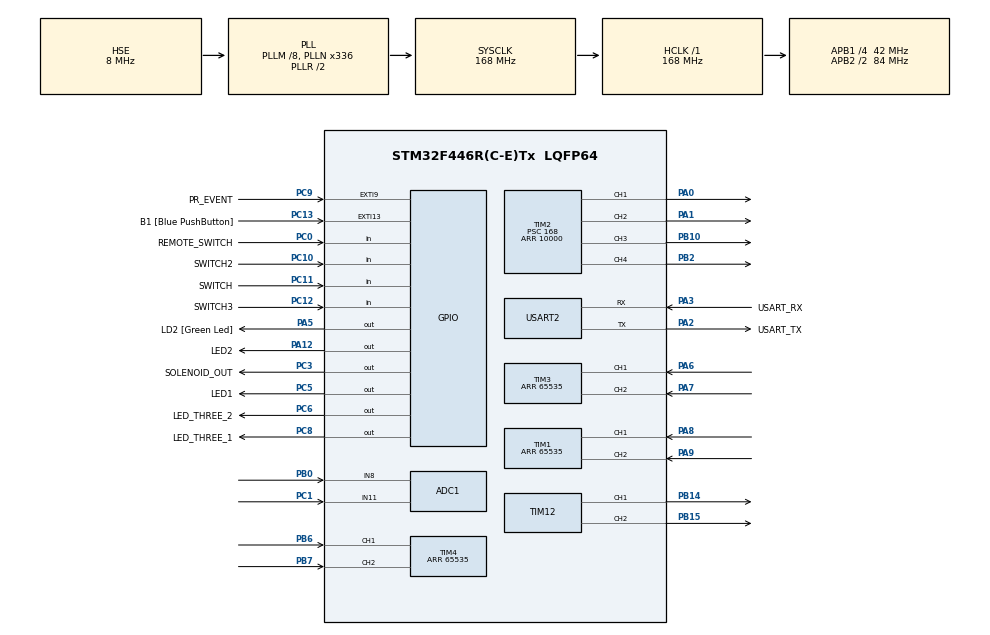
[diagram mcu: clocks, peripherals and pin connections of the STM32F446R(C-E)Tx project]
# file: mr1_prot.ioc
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ADC1.Channel-0\#ChannelRegularConversion=ADC_CHANNEL_11
ADC1.Channel-1\#ChannelRegularConversion=ADC_CHANNEL_8
ADC1.ContinuousConvMode=ENABLE
ADC1.DMAContinuousRequests=ENABLE
ADC1.NbrOfConversion=2
ADC1.NbrOfConversionFlag=1
ADC1.Rank-0\#ChannelRegularConversion=1
ADC1.Rank-1\#ChannelRegularConversion=2
ADC1.SamplingTime-0\#ChannelRegularConversion=ADC_SAMPLETIME_28CYCLES
ADC1.SamplingTime-1\#ChannelRegularConversion=ADC_SAMPLETIME_28CYCLES
ADC1.ScanConvMode=ENABLE
ADC1.master=1
Dma.ADC1.0.Direction=DMA_PERIPH_TO_MEMORY
Dma.ADC1.0.FIFOMode=DMA_FIFOMODE_DISABLE
Dma.ADC1.0.Instance=DMA2_Stream0
Dma.ADC1.0.MemDataAlignment=DMA_MDATAALIGN_HALFWORD
Dma.ADC1.0.MemInc=DMA_MINC_ENABLE
Dma.ADC1.0.Mode=DMA_CIRCULAR
Dma.ADC1.0.PeriphDataAlignment=DMA_PDATAALIGN_HALFWORD
Dma.ADC1.0.PeriphInc=DMA_PINC_DISABLE
Dma.ADC1.0.Priority=DMA_PRIORITY_HIGH
Dma.Request0=ADC1
Mcu.Family=STM32F4
Mcu.Name=STM32F446R(C-E)Tx
Mcu.Package=LQFP64
NVIC.DMA2_Stream0_IRQn=true\:0\:0\:false\:false\:true\:false
NVIC.EXTI9_5_IRQn=true\:0\:0\:false\:false\:true\:true
NVIC.PriorityGroup=NVIC_PRIORITYGROUP_0
NVIC.TIM7_IRQn=true\:0\:0\:false\:false\:true\:true
PA0-WKUP.Signal=S_TIM2_CH1_ETR
PA1.Signal=S_TIM2_CH2
PA12.GPIO_Label=LED2
PA12.Signal=GPIO_Output
PA13.GPIO_Label=TMS
PA13.Mode=Serial_Wire
PA13.Signal=SYS_JTMS-SWDIO
PA14.GPIO_Label=TCK
PA14.Mode=Serial_Wire
PA14.Signal=SYS_JTCK-SWCLK
PA2.GPIO_Label=USART_TX
PA2.Mode=Asynchronous
PA2.Signal=USART2_TX
PA3.GPIO_Label=USART_RX
PA3.Mode=Asynchronous
PA3.Signal=USART2_RX
PA5.GPIO_Label=LD2 [Green Led]
PA5.Signal=GPIO_Output
PA6.Signal=S_TIM3_CH1
PA7.Signal=S_TIM3_CH2
PA8.Signal=S_TIM1_CH1
PA9.Signal=S_TIM1_CH2
PB0.Signal=ADCx_IN8
PB10.Signal=S_TIM2_CH3
PB14.Signal=S_TIM12_CH1
PB15.Signal=S_TIM12_CH2
PB2.Signal=S_TIM2_CH4
PB3.GPIO_Label=SWO
PB3.Signal=SYS_JTDO-SWO
PB6.Signal=S_TIM4_CH1
PB7.Signal=S_TIM4_CH2
PC0.GPIO_Label=REMOTE_SWITCH
PC0.Signal=GPIO_Input
PC1.Signal=ADCx_IN11
PC10.GPIO_Label=SWITCH2
PC10.GPIO_Mode=GPIO_MODE_INPUT
PC10.GPIO_PuPd=GPIO_PULLUP
PC10.Signal=GPIO_Input
PC11.GPIO_Label=SWITCH
PC11.GPIO_PuPd=GPIO_PULLUP
PC11.Signal=GPIO_Input
PC12.GPIO_Label=SWITCH3
PC12.GPIO_PuPd=GPIO_PULLUP
PC12.Signal=GPIO_Input
PC13.GPIO_Label=B1 [Blue PushButton]
PC13.GPIO_ModeDefaultEXTI=GPIO_MODE_IT_FALLING
PC13.Signal=GPXTI13
PC14-OSC32_IN.Mode=LSE-External-Oscillator
PC14-OSC32_IN.Signal=RCC_OSC32_IN
PC15-OSC32_OUT.Mode=LSE-External-Oscillator
PC15-OSC32_OUT.Signal=RCC_OSC32_OUT
PC3.GPIO_Label=SOLENOID_OUT
PC3.Signal=GPIO_Output
PC5.GPIO_Label=LED1
PC5.Signal=GPIO_Output
PC6.GPIO_Label=LED_THREE_2
PC6.Signal=GPIO_Output
PC8.GPIO_Label=LED_THREE_1
PC8.Signal=GPIO_Output
PC9.GPIO_Label=PR_EVENT
PC9.GPIO_ModeDefaultEXTI=GPIO_MODE_IT_FALLING
PC9.Signal=GPXTI9
PH0-OSC_IN.Mode=HSE-External-Oscillator
PH0-OSC_IN.Signal=RCC_OSC_IN
PH1-OSC_OUT.Mode=HSE-External-Oscillator
PH1-OSC_OUT.Signal=RCC_OSC_OUT
ProjectManager.HeapSize=0x200
ProjectManager.StackSize=0x400
ProjectManager.TargetToolchain=TrueSTUDIO
RCC.48MHZClocksFreq_Value=84000000
RCC.AHBFreq_Value=168000000
RCC.APB1CLKDivider=RCC_HCLK_DIV4
RCC.APB1Freq_Value=42000000
RCC.APB1TimFreq_Value=84000000
RCC.APB2CLKDivider=RCC_HCLK_DIV2
RCC.APB2Freq_Value=84000000
RCC.APB2TimFreq_Value=168000000
RCC.CortexFreq_Value=168000000
RCC.FLatency-AdvancedSettings=FLASH_LATENCY_5
RCC.HCLKFreq_Value=168000000
RCC.HSE_VALUE=8000000
RCC.HSI_VALUE=16000000
RCC.PLLM=8
RCC.PLLN=336
RCC.PLLP=RCC_PLLP_DIV4
RCC.PLLSourceVirtual=RCC_PLLSOURCE_HSE
RCC.SYSCLKFreq_VALUE=168000000
RCC.SYSCLKSource=RCC_SYSCLKSOURCE_PLLRCLK
RCC.USBFreq_Value=168000000
RCC.VCOOutputFreq_Value=336000000
SH.ADCx_IN11.0=ADC1_IN11,IN11
SH.ADCx_IN8.0=ADC1_IN8,IN8
SH.S_TIM12_CH1.0=TIM12_CH1,PWM Generation1 CH1
SH.S_TIM12_CH2.0=TIM12_CH2,PWM Generation2 CH2
SH.S_TIM1_CH1.0=TIM1_CH1,Encoder_Interface
SH.S_TIM1_CH2.0=TIM1_CH2,Encoder_Interface
SH.S_TIM2_CH1_ETR.0=TIM2_CH1,PWM Generation1 CH1
SH.S_TIM2_CH2.0=TIM2_CH2,PWM Generation2 CH2
SH.S_TIM2_CH3.0=TIM2_CH3,PWM Generation3 CH3
SH.S_TIM2_CH4.0=TIM2_CH4,PWM Generation4 CH4
SH.S_TIM3_CH1.0=TIM3_CH1,Encoder_Interface
SH.S_TIM3_CH2.0=TIM3_CH2,Encoder_Interface
SH.S_TIM4_CH1.0=TIM4_CH1,Encoder_Interface
SH.S_TIM4_CH2.0=TIM4_CH2,Encoder_Interface
TIM1.EncoderMode=TIM_ENCODERMODE_TI12
TIM1.Period=65535
TIM12.Channel-PWM\ Generation1\ CH1=TIM_CHANNEL_1
TIM12.Channel-PWM\ Generation2\ CH2=TIM_CHANNEL_2
TIM2.Channel-PWM\ Generation1\ CH1=TIM_CHANNEL_1
TIM2.Channel-PWM\ Generation2\ CH2=TIM_CHANNEL_2
TIM2.Channel-PWM\ Generation3\ CH3=TIM_CHANNEL_3
TIM2.Channel-PWM\ Generation4\ CH4=TIM_CHANNEL_4
TIM2.Period=10000
TIM2.Prescaler=168
TIM3.EncoderMode=TIM_ENCODERMODE_TI12
TIM3.Period=65535
TIM4.EncoderMode=TIM_ENCODERMODE_TI12
TIM4.Period=65535
TIM7.Period=84
TIM7.Prescaler=10000-1
USART2.VirtualMode=VM_ASYNC
VP_TIM7_VS_ClockSourceINT.Mode=Enable_Timer
board=NUCLEO-F446RE

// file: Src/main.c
/**
  ******************************************************************************
  * @file           : main.c
  * @brief          : Main program body
  ******************************************************************************
  ** This notice applies to any and all portions of this file
  * that are not between comment pairs USER CODE BEGIN and
  * USER CODE END. Other portions of this file, whether
  * inserted by the user or by software development tools
  * are owned by their respective copyright owners.
  *
  * COPYRIGHT(c) 2019 STMicroelectronics
  *
  * Redistribution and use in source and binary forms, with or without modification,
  * are permitted provided that the following conditions are met:
  *   1. Redistributions of source code must retain the above copyright notice,
  *      this list of conditions and the following disclaimer.
  *   2. Redistributions in binary form must reproduce the above copyright notice,
  *      this list of conditions and the following disclaimer in the documentation
  *      and/or other materials provided with the distribution.
  *   3. Neither the name of STMicroelectronics nor the names of its contributors
  *      may be used to endorse or promote products derived from this software
  *      without specific prior written permission.
  *
  * THIS SOFTWARE IS PROVIDED BY THE COPYRIGHT HOLDERS AND CONTRIBUTORS "AS IS"
  * AND ANY EXPRESS OR IMPLIED WARRANTIES, INCLUDING, BUT NOT LIMITED TO, THE
  * IMPLIED WARRANTIES OF MERCHANTABILITY AND FITNESS FOR A PARTICULAR PURPOSE ARE
  * DISCLAIMED. IN NO EVENT SHALL THE COPYRIGHT HOLDER OR CONTRIBUTORS BE LIABLE
  * FOR ANY DIRECT, INDIRECT, INCIDENTAL, SPECIAL, EXEMPLARY, OR CONSEQUENTIAL
  * DAMAGES (INCLUDING, BUT NOT LIMITED TO, PROCUREMENT OF SUBSTITUTE GOODS OR
  * SERVICES; LOSS OF USE, DATA, OR PROFITS; OR BUSINESS INTERRUPTION) HOWEVER
  * CAUSED AND ON ANY THEORY OF LIABILITY, WHETHER IN CONTRACT, STRICT LIABILITY,
  * OR TORT (INCLUDING NEGLIGENCE OR OTHERWISE) ARISING IN ANY WAY OUT OF THE USE
  * OF THIS SOFTWARE, EVEN IF ADVISED OF THE POSSIBILITY OF SUCH DAMAGE.
  *
  ******************************************************************************
  */
#include "main.h"
#include "stm32f4xx_hal.h"

/* USER CODE BEGIN Includes */
#include "basic_operations.h"
/* USER CODE END Includes */

ADC_HandleTypeDef hadc1;
DMA_HandleTypeDef hdma_adc1;

TIM_HandleTypeDef htim1;
TIM_HandleTypeDef htim2;
TIM_HandleTypeDef htim3;
TIM_HandleTypeDef htim4;
TIM_HandleTypeDef htim7;
TIM_HandleTypeDef htim12;

UART_HandleTypeDef huart2;

/* USER CODE BEGIN PV */
/* Private variables ---------------------------------------------------------*/

/* USER CODE END PV */

void SystemClock_Config(void);
static void MX_GPIO_Init(void);
static void MX_DMA_Init(void);
static void MX_USART2_UART_Init(void);
static void MX_TIM3_Init(void);
static void MX_TIM4_Init(void);
static void MX_TIM2_Init(void);
static void MX_TIM1_Init(void);
static void MX_TIM12_Init(void);
static void MX_TIM7_Init(void);
static void MX_ADC1_Init(void);

void HAL_TIM_MspPostInit(TIM_HandleTypeDef *htim);

/* USER CODE BEGIN PFP */
/* Private function prototypes -----------------------------------------------*/

/* USER CODE END PFP */

/* USER CODE BEGIN 0 */

/*ADC*/
static uint16_t _ADCdata[2];

uint16_t get_ADCdata_0(){
	return _ADCdata[0];
}

uint16_t get_ADCdata_1(){
	return _ADCdata[1];
}

TIM_Encoder_InitTypeDef sConfig;
TIM_MasterConfigTypeDef sMasterConfig;

/* USER CODE END 0 */

int main(void)
{

  /* MCU Configuration----------------------------------------------------------*/

  /* Reset of all peripherals, Initializes the Flash interface and the Systick. */
  HAL_Init();

  /* Configure the system clock */
  SystemClock_Config();

  /* Initialize all configured peripherals */
  MX_GPIO_Init();
  MX_DMA_Init();
  MX_USART2_UART_Init();
  MX_TIM3_Init();
  MX_TIM4_Init();
  MX_TIM2_Init();
  MX_TIM1_Init();
  MX_TIM12_Init();
  MX_TIM7_Init();
  MX_ADC1_Init();
  /* USER CODE BEGIN 2 */

  /*ADC*/
  HAL_ADC_Init(&hadc1);
  HAL_ADC_Start_DMA(&hadc1,(uint32_t *)_ADCdata,2);

  if(HAL_TIM_PWM_Start(&htim2,TIM_CHANNEL_1)!= HAL_OK){Error_Handler();}
    if(HAL_TIM_PWM_Start(&htim2,TIM_CHANNEL_2)!= HAL_OK){Error_Handler();}
    if(HAL_TIM_PWM_Start(&htim2,TIM_CHANNEL_3)!= HAL_OK){Error_Handler();}
    if(HAL_TIM_PWM_Start(&htim2,TIM_CHANNEL_4)!= HAL_OK){Error_Handler();}

    HAL_TIM_Encoder_Start(&htim3,TIM_CHANNEL_ALL);//right-wheel
    HAL_TIM_Encoder_Start(&htim1,TIM_CHANNEL_ALL);//left-wheel
    HAL_TIM_Encoder_Start(&htim4,TIM_CHANNEL_ALL);//throwing arm

    HAL_TIM_Base_Start_IT(&htim7);

  /* USER CODE END 2 */

  /* Infinite loop */
  while (1)
  {

  /* USER CODE BEGIN 3 */
	  volatile int a = 0;
	  a++;

  }
  /* USER CODE END 3 */

}

void SystemClock_Config(void)
{

  RCC_OscInitTypeDef RCC_OscInitStruct;
  RCC_ClkInitTypeDef RCC_ClkInitStruct;

    /**Configure the main internal regulator output voltage
    */
  __HAL_RCC_PWR_CLK_ENABLE();

  __HAL_PWR_VOLTAGESCALING_CONFIG(PWR_REGULATOR_VOLTAGE_SCALE1);

    /**Initializes the CPU, AHB and APB busses clocks
    */
  RCC_OscInitStruct.OscillatorType = RCC_OSCILLATORTYPE_HSE;
  RCC_OscInitStruct.HSEState = RCC_HSE_ON;
  RCC_OscInitStruct.PLL.PLLState = RCC_PLL_ON;
  RCC_OscInitStruct.PLL.PLLSource = RCC_PLLSOURCE_HSE;
  RCC_OscInitStruct.PLL.PLLM = 8;
  RCC_OscInitStruct.PLL.PLLN = 336;
  RCC_OscInitStruct.PLL.PLLP = RCC_PLLP_DIV4;
  RCC_OscInitStruct.PLL.PLLQ = 2;
  RCC_OscInitStruct.PLL.PLLR = 2;
  if (HAL_RCC_OscConfig(&RCC_OscInitStruct) != HAL_OK)
  {
    _Error_Handler(__FILE__, __LINE__);
  }

    /**Initializes the CPU, AHB and APB busses clocks
    */
  RCC_ClkInitStruct.ClockType = RCC_CLOCKTYPE_HCLK|RCC_CLOCKTYPE_SYSCLK
                              |RCC_CLOCKTYPE_PCLK1|RCC_CLOCKTYPE_PCLK2;
  RCC_ClkInitStruct.SYSCLKSource = RCC_SYSCLKSOURCE_PLLRCLK;
  RCC_ClkInitStruct.AHBCLKDivider = RCC_SYSCLK_DIV1;
  RCC_ClkInitStruct.APB1CLKDivider = RCC_HCLK_DIV4;
  RCC_ClkInitStruct.APB2CLKDivider = RCC_HCLK_DIV2;

  if (HAL_RCC_ClockConfig(&RCC_ClkInitStruct, FLASH_LATENCY_5) != HAL_OK)
  {
    _Error_Handler(__FILE__, __LINE__);
  }

    /**Configure the Systick interrupt time
    */
  HAL_SYSTICK_Config(HAL_RCC_GetHCLKFreq()/1000);

    /**Configure the Systick
    */
  HAL_SYSTICK_CLKSourceConfig(SYSTICK_CLKSOURCE_HCLK);

  /* SysTick_IRQn interrupt configuration */
  HAL_NVIC_SetPriority(SysTick_IRQn, 0, 0);
}

/* ADC1 init function */
static void MX_ADC1_Init(void)
{

  ADC_ChannelConfTypeDef sConfig;

    /**Configure the global features of the ADC (Clock, Resolution, Data Alignment and number of conversion)
    */
  hadc1.Instance = ADC1;
  hadc1.Init.ClockPrescaler = ADC_CLOCK_SYNC_PCLK_DIV4;
  hadc1.Init.Resolution = ADC_RESOLUTION_12B;
  hadc1.Init.ScanConvMode = ENABLE;
  hadc1.Init.ContinuousConvMode = ENABLE;
  hadc1.Init.DiscontinuousConvMode = DISABLE;
  hadc1.Init.ExternalTrigConvEdge = ADC_EXTERNALTRIGCONVEDGE_NONE;
  hadc1.Init.ExternalTrigConv = ADC_SOFTWARE_START;
  hadc1.Init.DataAlign = ADC_DATAALIGN_RIGHT;
  hadc1.Init.NbrOfConversion = 2;
  hadc1.Init.DMAContinuousRequests = ENABLE;
  hadc1.Init.EOCSelection = ADC_EOC_SINGLE_CONV;
  if (HAL_ADC_Init(&hadc1) != HAL_OK)
  {
    _Error_Handler(__FILE__, __LINE__);
  }

    /**Configure for the selected ADC regular channel its corresponding rank in the sequencer and its sample time.
    */
  sConfig.Channel = ADC_CHANNEL_11;
  sConfig.Rank = 1;
  sConfig.SamplingTime = ADC_SAMPLETIME_28CYCLES;
  if (HAL_ADC_ConfigChannel(&hadc1, &sConfig) != HAL_OK)
  {
    _Error_Handler(__FILE__, __LINE__);
  }

    /**Configure for the selected ADC regular channel its corresponding rank in the sequencer and its sample time.
    */
  sConfig.Channel = ADC_CHANNEL_8;
  sConfig.Rank = 2;
  if (HAL_ADC_ConfigChannel(&hadc1, &sConfig) != HAL_OK)
  {
    _Error_Handler(__FILE__, __LINE__);
  }

}

/* TIM1 init function */
static void MX_TIM1_Init(void)
{

  TIM_Encoder_InitTypeDef sConfig;
  TIM_MasterConfigTypeDef sMasterConfig;

  htim1.Instance = TIM1;
  htim1.Init.Prescaler = 0;
  htim1.Init.CounterMode = TIM_COUNTERMODE_UP;
  htim1.Init.Period = 65535;
  htim1.Init.ClockDivision = TIM_CLOCKDIVISION_DIV1;
  htim1.Init.RepetitionCounter = 0;
  sConfig.EncoderMode = TIM_ENCODERMODE_TI12;
  sConfig.IC1Polarity = TIM_ICPOLARITY_RISING;
  sConfig.IC1Selection = TIM_ICSELECTION_DIRECTTI;
  sConfig.IC1Prescaler = TIM_ICPSC_DIV1;
  sConfig.IC1Filter = 0;
  sConfig.IC2Polarity = TIM_ICPOLARITY_RISING;
  sConfig.IC2Selection = TIM_ICSELECTION_DIRECTTI;
  sConfig.IC2Prescaler = TIM_ICPSC_DIV1;
  sConfig.IC2Filter = 0;
  if (HAL_TIM_Encoder_Init(&htim1, &sConfig) != HAL_OK)
  {
    _Error_Handler(__FILE__, __LINE__);
  }

  sMasterConfig.MasterOutputTrigger = TIM_TRGO_RESET;
  sMasterConfig.MasterSlaveMode = TIM_MASTERSLAVEMODE_DISABLE;
  if (HAL_TIMEx_MasterConfigSynchronization(&htim1, &sMasterConfig) != HAL_OK)
  {
    _Error_Handler(__FILE__, __LINE__);
  }

}

/* TIM2 init function */
static void MX_TIM2_Init(void)
{

  TIM_MasterConfigTypeDef sMasterConfig;
  TIM_OC_InitTypeDef sConfigOC;

  htim2.Instance = TIM2;
  htim2.Init.Prescaler = 168;
  htim2.Init.CounterMode = TIM_COUNTERMODE_UP;
  htim2.Init.Period = 10000;
  htim2.Init.ClockDivision = TIM_CLOCKDIVISION_DIV1;
  if (HAL_TIM_PWM_Init(&htim2) != HAL_OK)
  {
    _Error_Handler(__FILE__, __LINE__);
  }

  sMasterConfig.MasterOutputTrigger = TIM_TRGO_RESET;
  sMasterConfig.MasterSlaveMode = TIM_MASTERSLAVEMODE_DISABLE;
  if (HAL_TIMEx_MasterConfigSynchronization(&htim2, &sMasterConfig) != HAL_OK)
  {
    _Error_Handler(__FILE__, __LINE__);
  }

  sConfigOC.OCMode = TIM_OCMODE_PWM1;
  sConfigOC.Pulse = 0;
  sConfigOC.OCPolarity = TIM_OCPOLARITY_HIGH;
  sConfigOC.OCFastMode = TIM_OCFAST_DISABLE;
  if (HAL_TIM_PWM_ConfigChannel(&htim2, &sConfigOC, TIM_CHANNEL_1) != HAL_OK)
  {
    _Error_Handler(__FILE__, __LINE__);
  }

  if (HAL_TIM_PWM_ConfigChannel(&htim2, &sConfigOC, TIM_CHANNEL_2) != HAL_OK)
  {
    _Error_Handler(__FILE__, __LINE__);
  }

  if (HAL_TIM_PWM_ConfigChannel(&htim2, &sConfigOC, TIM_CHANNEL_3) != HAL_OK)
  {
    _Error_Handler(__FILE__, __LINE__);
  }

  if (HAL_TIM_PWM_ConfigChannel(&htim2, &sConfigOC, TIM_CHANNEL_4) != HAL_OK)
  {
    _Error_Handler(__FILE__, __LINE__);
  }

  HAL_TIM_MspPostInit(&htim2);

}

/* TIM3 init function */
static void MX_TIM3_Init(void)
{

  TIM_Encoder_InitTypeDef sConfig;
  TIM_MasterConfigTypeDef sMasterConfig;

  htim3.Instance = TIM3;
  htim3.Init.Prescaler = 0;
  htim3.Init.CounterMode = TIM_COUNTERMODE_UP;
  htim3.Init.Period = 65535;
  htim3.Init.ClockDivision = TIM_CLOCKDIVISION_DIV1;
  sConfig.EncoderMode = TIM_ENCODERMODE_TI12;
  sConfig.IC1Polarity = TIM_ICPOLARITY_RISING;
  sConfig.IC1Selection = TIM_ICSELECTION_DIRECTTI;
  sConfig.IC1Prescaler = TIM_ICPSC_DIV1;
  sConfig.IC1Filter = 0;
  sConfig.IC2Polarity = TIM_ICPOLARITY_RISING;
  sConfig.IC2Selection = TIM_ICSELECTION_DIRECTTI;
  sConfig.IC2Prescaler = TIM_ICPSC_DIV1;
  sConfig.IC2Filter = 0;
  if (HAL_TIM_Encoder_Init(&htim3, &sConfig) != HAL_OK)
  {
    _Error_Handler(__FILE__, __LINE__);
  }

  sMasterConfig.MasterOutputTrigger = TIM_TRGO_RESET;
  sMasterConfig.MasterSlaveMode = TIM_MASTERSLAVEMODE_DISABLE;
  if (HAL_TIMEx_MasterConfigSynchronization(&htim3, &sMasterConfig) != HAL_OK)
  {
    _Error_Handler(__FILE__, __LINE__);
  }

}

/* TIM4 init function */
static void MX_TIM4_Init(void)
{

  TIM_Encoder_InitTypeDef sConfig;
  TIM_MasterConfigTypeDef sMasterConfig;

  htim4.Instance = TIM4;
  htim4.Init.Prescaler = 0;
  htim4.Init.CounterMode = TIM_COUNTERMODE_UP;
  htim4.Init.Period = 65535;
  htim4.Init.ClockDivision = TIM_CLOCKDIVISION_DIV1;
  sConfig.EncoderMode = TIM_ENCODERMODE_TI12;
  sConfig.IC1Polarity = TIM_ICPOLARITY_RISING;
  sConfig.IC1Selection = TIM_ICSELECTION_DIRECTTI;
  sConfig.IC1Prescaler = TIM_ICPSC_DIV1;
  sConfig.IC1Filter = 0;
  sConfig.IC2Polarity = TIM_ICPOLARITY_RISING;
  sConfig.IC2Selection = TIM_ICSELECTION_DIRECTTI;
  sConfig.IC2Prescaler = TIM_ICPSC_DIV1;
  sConfig.IC2Filter = 0;
  if (HAL_TIM_Encoder_Init(&htim4, &sConfig) != HAL_OK)
  {
    _Error_Handler(__FILE__, __LINE__);
  }

  sMasterConfig.MasterOutputTrigger = TIM_TRGO_RESET;
  sMasterConfig.MasterSlaveMode = TIM_MASTERSLAVEMODE_DISABLE;
  if (HAL_TIMEx_MasterConfigSynchronization(&htim4, &sMasterConfig) != HAL_OK)
  {
    _Error_Handler(__FILE__, __LINE__);
  }

}

/* TIM7 init function */
static void MX_TIM7_Init(void)
{

  TIM_MasterConfigTypeDef sMasterConfig;

  htim7.Instance = TIM7;
  htim7.Init.Prescaler = 10000-1;
  htim7.Init.CounterMode = TIM_COUNTERMODE_UP;
  htim7.Init.Period = 84;
  if (HAL_TIM_Base_Init(&htim7) != HAL_OK)
  {
    _Error_Handler(__FILE__, __LINE__);
  }

  sMasterConfig.MasterOutputTrigger = TIM_TRGO_RESET;
  sMasterConfig.MasterSlaveMode = TIM_MASTERSLAVEMODE_DISABLE;
  if (HAL_TIMEx_MasterConfigSynchronization(&htim7, &sMasterConfig) != HAL_OK)
  {
    _Error_Handler(__FILE__, __LINE__);
  }

}

/* TIM12 init function */
static void MX_TIM12_Init(void)
{

  TIM_OC_InitTypeDef sConfigOC;

  htim12.Instance = TIM12;
  htim12.Init.Prescaler = 0;
  htim12.Init.CounterMode = TIM_COUNTERMODE_UP;
  htim12.Init.Period = 0;
  htim12.Init.ClockDivision = TIM_CLOCKDIVISION_DIV1;
  if (HAL_TIM_PWM_Init(&htim12) != HAL_OK)
  {
    _Error_Handler(__FILE__, __LINE__);
  }

  sConfigOC.OCMode = TIM_OCMODE_PWM1;
  sConfigOC.Pulse = 0;
  sConfigOC.OCPolarity = TIM_OCPOLARITY_HIGH;
  sConfigOC.OCFastMode = TIM_OCFAST_DISABLE;
  if (HAL_TIM_PWM_ConfigChannel(&htim12, &sConfigOC, TIM_CHANNEL_1) != HAL_OK)
  {
    _Error_Handler(__FILE__, __LINE__);
  }

  if (HAL_TIM_PWM_ConfigChannel(&htim12, &sConfigOC, TIM_CHANNEL_2) != HAL_OK)
  {
    _Error_Handler(__FILE__, __LINE__);
  }

  HAL_TIM_MspPostInit(&htim12);

}

/* USART2 init function */
static void MX_USART2_UART_Init(void)
{

  huart2.Instance = USART2;
  huart2.Init.BaudRate = 115200;
  huart2.Init.WordLength = UART_WORDLENGTH_8B;
  huart2.Init.StopBits = UART_STOPBITS_1;
  huart2.Init.Parity = UART_PARITY_NONE;
  huart2.Init.Mode = UART_MODE_TX_RX;
  huart2.Init.HwFlowCtl = UART_HWCONTROL_NONE;
  huart2.Init.OverSampling = UART_OVERSAMPLING_16;
  if (HAL_UART_Init(&huart2) != HAL_OK)
  {
    _Error_Handler(__FILE__, __LINE__);
  }

}

static void MX_DMA_Init(void)
{
  /* DMA controller clock enable */
  __HAL_RCC_DMA2_CLK_ENABLE();

  /* DMA interrupt init */
  /* DMA2_Stream0_IRQn interrupt configuration */
  HAL_NVIC_SetPriority(DMA2_Stream0_IRQn, 0, 0);
  HAL_NVIC_EnableIRQ(DMA2_Stream0_IRQn);

}

/** Configure pins as
        * Analog
        * Input
        * Output
        * EVENT_OUT
        * EXTI
*/
static void MX_GPIO_Init(void)
{

  GPIO_InitTypeDef GPIO_InitStruct;

  /* GPIO Ports Clock Enable */
  __HAL_RCC_GPIOC_CLK_ENABLE();
  __HAL_RCC_GPIOH_CLK_ENABLE();
  __HAL_RCC_GPIOA_CLK_ENABLE();
  __HAL_RCC_GPIOB_CLK_ENABLE();

  /*Configure GPIO pin Output Level */
  HAL_GPIO_WritePin(GPIOC, SOLENOID_OUT_Pin|LED1_Pin|LED_THREE_2_Pin|LED_THREE_1_Pin, GPIO_PIN_RESET);

  /*Configure GPIO pin Output Level */
  HAL_GPIO_WritePin(GPIOA, LD2_Pin|LED2_Pin, GPIO_PIN_RESET);

  /*Configure GPIO pins : B1_Pin PR_EVENT_Pin */
  GPIO_InitStruct.Pin = B1_Pin|PR_EVENT_Pin;
  GPIO_InitStruct.Mode = GPIO_MODE_IT_FALLING;
  GPIO_InitStruct.Pull = GPIO_NOPULL;
  HAL_GPIO_Init(GPIOC, &GPIO_InitStruct);

  /*Configure GPIO pin : REMOTE_SWITCH_Pin */
  GPIO_InitStruct.Pin = REMOTE_SWITCH_Pin;
  GPIO_InitStruct.Mode = GPIO_MODE_INPUT;
  GPIO_InitStruct.Pull = GPIO_NOPULL;
  HAL_GPIO_Init(REMOTE_SWITCH_GPIO_Port, &GPIO_InitStruct);

  /*Configure GPIO pins : SOLENOID_OUT_Pin LED1_Pin LED_THREE_2_Pin LED_THREE_1_Pin */
  GPIO_InitStruct.Pin = SOLENOID_OUT_Pin|LED1_Pin|LED_THREE_2_Pin|LED_THREE_1_Pin;
  GPIO_InitStruct.Mode = GPIO_MODE_OUTPUT_PP;
  GPIO_InitStruct.Pull = GPIO_NOPULL;
  GPIO_InitStruct.Speed = GPIO_SPEED_FREQ_LOW;
  HAL_GPIO_Init(GPIOC, &GPIO_InitStruct);

  /*Configure GPIO pins : LD2_Pin LED2_Pin */
  GPIO_InitStruct.Pin = LD2_Pin|LED2_Pin;
  GPIO_InitStruct.Mode = GPIO_MODE_OUTPUT_PP;
  GPIO_InitStruct.Pull = GPIO_NOPULL;
  GPIO_InitStruct.Speed = GPIO_SPEED_FREQ_LOW;
  HAL_GPIO_Init(GPIOA, &GPIO_InitStruct);

  /*Configure GPIO pins : SWITCH2_Pin SWITCH_Pin SWITCH3_Pin */
  GPIO_InitStruct.Pin = SWITCH2_Pin|SWITCH_Pin|SWITCH3_Pin;
  GPIO_InitStruct.Mode = GPIO_MODE_INPUT;
  GPIO_InitStruct.Pull = GPIO_PULLUP;
  HAL_GPIO_Init(GPIOC, &GPIO_InitStruct);

  /* EXTI interrupt init*/
  HAL_NVIC_SetPriority(EXTI9_5_IRQn, 0, 0);
  HAL_NVIC_EnableIRQ(EXTI9_5_IRQn);

}

void _Error_Handler(char *file, int line)
{
  while(1)
  {
  }
}

/************************ (C) COPYRIGHT STMicroelectronics *****END OF FILE****/
